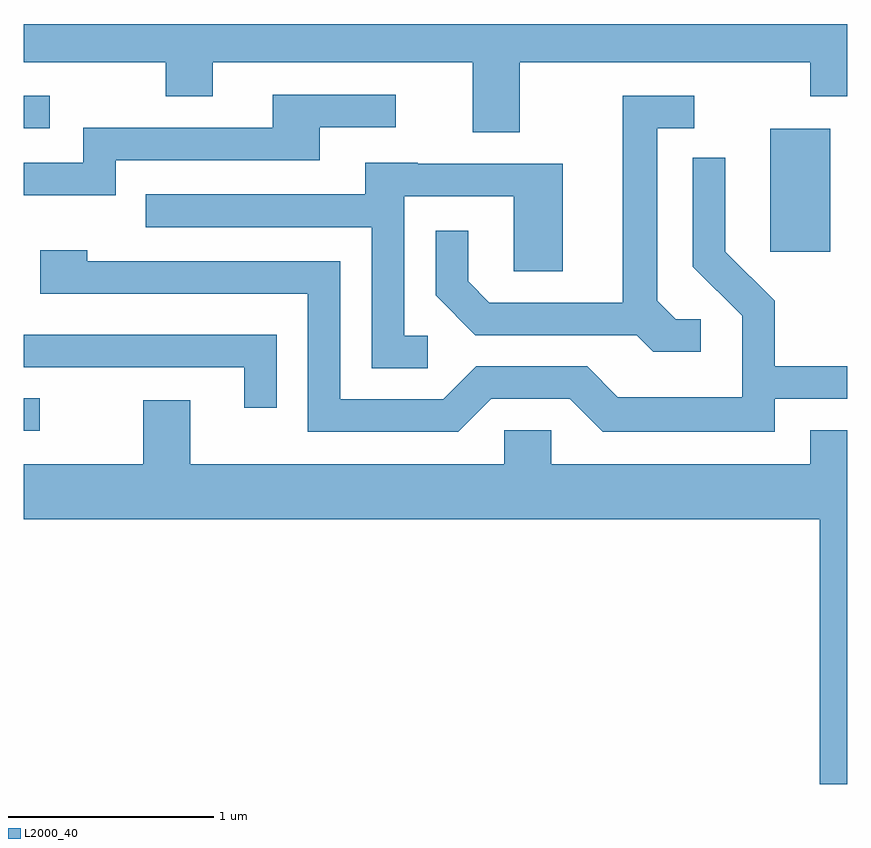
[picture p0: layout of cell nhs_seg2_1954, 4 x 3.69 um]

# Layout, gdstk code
import gdstk
lib = gdstk.Library(unit=1e-6, precision=1e-09)
def R(c, l, rs):  # rectangles x0, y0, x1, y1
    for r in rs: c.add(gdstk.rectangle(r[:2], r[2:], *l))
def P(c, l, *ps):  # polygons
    for p in ps: c.add(gdstk.Polygon(p, *l))
L2000_40 = (2000, 40)

nhs_seg2_1954 = lib.new_cell('nhs_seg2_1954')
R(nhs_seg2_1954, L2000_40, [(241.611,1079.826,241.688,1079.984), (245.236,1080.696,245.529,1081.294), (241.611,1081.296,241.738,1081.454)])
P(nhs_seg2_1954, L2000_40, [(244.019,1081.616),(245.431,1081.616),(245.431,1081.451),(245.611,1081.451),(245.611,1081.802),(241.611,1081.802),(241.611,1081.616),(242.301,1081.616),(242.301,1081.451),(242.529,1081.451),(242.529,1081.616),(243.791,1081.616),(243.791,1081.276),(244.019,1081.276)],
  [(242.059,1081.141),(243.049,1081.141),(243.049,1081.301),(243.418,1081.301),(243.418,1081.459),(242.821,1081.459),(242.821,1081.299),(241.901,1081.299),(241.901,1081.129),(241.611,1081.129),(241.611,1080.971),(242.059,1080.971)],
  [(244.898,1080.369),(244.777,1080.369),(244.689,1080.457),(244.689,1081.296),(244.868,1081.296),(244.868,1081.454),(244.521,1081.454),(244.521,1080.449),(243.872,1080.449),(243.769,1080.552),(243.769,1080.798),(243.611,1080.798),(243.611,1080.484),(243.804,1080.291),(244.589,1080.291),(244.669,1080.211),(244.898,1080.211)],
  [(243.882,1079.981),(244.264,1079.981),(244.424,1079.821),(245.259,1079.821),(245.259,1079.981),(245.611,1079.981),(245.611,1080.139),(245.259,1080.139),(245.259,1080.457),(245.019,1080.697),(245.019,1081.153),(244.861,1081.153),(244.861,1080.624),(245.101,1080.384),(245.101,1079.989),(244.497,1079.989),(244.347,1080.139),(243.809,1080.139),(243.649,1079.979),(243.149,1079.979),(243.149,1080.649),(241.919,1080.649),(241.919,1080.704),(241.691,1080.704),(241.691,1080.491),(242.991,1080.491),(242.991,1079.821),(243.722,1079.821)],
  [(243.573,1080.289),(243.459,1080.289),(243.459,1080.966),(243.991,1080.966),(243.991,1080.601),(244.229,1080.601),(244.229,1081.124),(243.525,1081.124),(243.525,1081.129),(243.271,1081.129),(243.271,1080.974),(242.203,1080.974),(242.203,1080.816),(243.301,1080.816),(243.301,1080.131),(243.573,1080.131)],
  [(242.839,1080.294),(241.611,1080.294),(241.611,1080.136),(242.681,1080.136),(242.681,1079.938),(242.839,1079.938)],
  [(245.611,1079.829),(245.431,1079.829),(245.431,1079.664),(244.174,1079.664),(244.174,1079.829),(243.946,1079.829),(243.946,1079.664),(242.419,1079.664),(242.419,1079.974),(242.191,1079.974),(242.191,1079.664),(241.611,1079.664),(241.611,1079.396),(245.476,1079.396),(245.476,1078.111),(245.611,1078.111)])

lib.write_gds('nhs_seg2_1954.gds')
